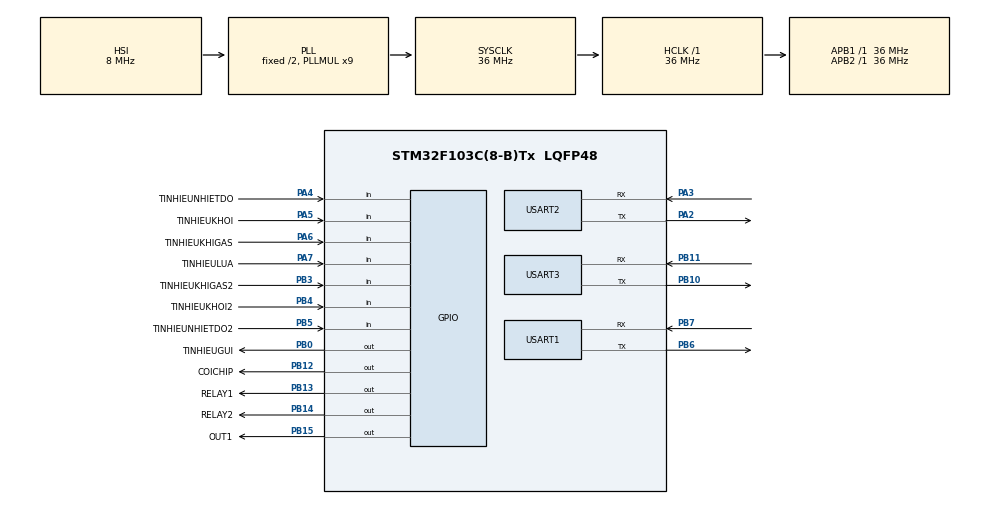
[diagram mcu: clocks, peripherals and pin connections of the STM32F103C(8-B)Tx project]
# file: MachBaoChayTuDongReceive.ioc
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Mcu.Family=STM32F1
Mcu.Name=STM32F103C(8-B)Tx
Mcu.Package=LQFP48
NVIC.PriorityGroup=NVIC_PRIORITYGROUP_4
PA13.Mode=Serial_Wire
PA13.Signal=SYS_JTMS-SWDIO
PA14.Mode=Serial_Wire
PA14.Signal=SYS_JTCK-SWCLK
PA2.Mode=Asynchronous
PA2.Signal=USART2_TX
PA3.Mode=Asynchronous
PA3.Signal=USART2_RX
PA4.GPIO_Label=TINHIEUNHIETDO
PA4.Signal=GPIO_Input
PA5.GPIO_Label=TINHIEUKHOI
PA5.Signal=GPIO_Input
PA6.GPIO_Label=TINHIEUKHIGAS
PA6.Signal=GPIO_Input
PA7.GPIO_Label=TINHIEULUA
PA7.Signal=GPIO_Input
PB0.GPIO_Label=TINHIEUGUI
PB0.Signal=GPIO_Output
PB10.Mode=Asynchronous
PB10.Signal=USART3_TX
PB11.Mode=Asynchronous
PB11.Signal=USART3_RX
PB12.GPIO_Label=COICHIP
PB12.Signal=GPIO_Output
PB13.GPIO_Label=RELAY1
PB13.Signal=GPIO_Output
PB14.GPIO_Label=RELAY2
PB14.Signal=GPIO_Output
PB15.GPIO_Label=OUT1
PB15.Signal=GPIO_Output
PB3.GPIO_Label=TINHIEUKHIGAS2
PB3.Signal=GPIO_Input
PB4.GPIO_Label=TINHIEUKHOI2
PB4.Signal=GPIO_Input
PB5.GPIO_Label=TINHIEUNHIETDO2
PB5.Signal=GPIO_Input
PB6.Mode=Asynchronous
PB6.Signal=USART1_TX
PB7.Mode=Asynchronous
PB7.Signal=USART1_RX
PC14-OSC32_IN.Mode=LSE-External-Oscillator
PC14-OSC32_IN.Signal=RCC_OSC32_IN
PC15-OSC32_OUT.Mode=LSE-External-Oscillator
PC15-OSC32_OUT.Signal=RCC_OSC32_OUT
ProjectManager.HeapSize=0x200
ProjectManager.StackSize=0x400
ProjectManager.TargetToolchain=STM32CubeIDE
RCC.AHBFreq_Value=36000000
RCC.APB1Freq_Value=36000000
RCC.APB1TimFreq_Value=36000000
RCC.APB2Freq_Value=36000000
RCC.APB2TimFreq_Value=36000000
RCC.HCLKFreq_Value=36000000
RCC.PLLMUL=RCC_PLL_MUL9
RCC.SYSCLKFreq_VALUE=36000000
RCC.SYSCLKSource=RCC_SYSCLKSOURCE_PLLCLK
RCC.USBFreq_Value=36000000
USART1.VirtualMode=VM_ASYNC
USART2.VirtualMode=VM_ASYNC
USART3.VirtualMode=VM_ASYNC
VP_TIM1_VS_ClockSourceINT.Mode=Internal
board=custom

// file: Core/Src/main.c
/* USER CODE BEGIN Header */
/**
 ******************************************************************************
 * @file           : main.c
 * @brief          : Main program body
 ******************************************************************************
 * @attention
 *
 * Copyright (c) 2024 STMicroelectronics.
 * All rights reserved.
 *
 * This software is licensed under terms that can be found in the LICENSE file
 * in the root directory of this software component.
 * If no LICENSE file comes with this software, it is provided AS-IS.
 *
 ******************************************************************************
 */
/* USER CODE END Header */
#include "main.h"

/* USER CODE BEGIN Includes */
#include "string.h"
#include "stdio.h"
/* USER CODE END Includes */

/* USER CODE BEGIN PM */
int a = 0;
char SIM800__Call_Char[] = "ATD0765214176;\r\n";
char SIM800__Mess_Char1[] = "AT+CMGF=1;\r\n";
char SIM800__Mess_Char2[] = "AT+CMGS=\"0765214176\"\r\n";
char SIM800__Mess_Char3[] = "CANH BAO SU CO;\r\n";
char SIM800__Mess_Char4[] = "\x1A\r\n";
uint32_t ThoiGianCuocGoiCuoi = 0;
uint32_t ThoiGianTinNhanCuoi = 0;
uint32_t ThoiGianTinHieuCuoi = 0;
uint8_t CoTinNhan, CoCuocGoi, CoKiemTraHeThong;
uint8_t DataNhanTuCamera;
uint32_t last_time;
/* USER CODE END PM */

TIM_HandleTypeDef htim1;

UART_HandleTypeDef huart1;
UART_HandleTypeDef huart2;
UART_HandleTypeDef huart3;

void SystemClock_Config(void);
static void MX_GPIO_Init(void);
static void MX_TIM1_Init(void);
static void MX_USART1_UART_Init(void);
static void MX_USART2_UART_Init(void);
static void MX_USART3_UART_Init(void);

/* USER CODE BEGIN 0 */
void TatHeThongChuaChay(void);
void BatHeThongChuaChay(void);
void BatHeThongCanhBao(void);
/* USER CODE END 0 */

int main(void)
{

  /* MCU Configuration--------------------------------------------------------*/

  /* Reset of all peripherals, Initializes the Flash interface and the Systick. */
  HAL_Init();

  /* Configure the system clock */
  SystemClock_Config();

  /* Initialize all configured peripherals */
  MX_GPIO_Init();
  MX_TIM1_Init();
  MX_USART1_UART_Init();
  MX_USART2_UART_Init();
  MX_USART3_UART_Init();

  /* Infinite loop */
	while (1)
	{

    /* USER CODE BEGIN 3 */
		HAL_UART_Receive(&huart1, &DataNhanTuCamera, 1, 100);
		if (((HAL_GPIO_ReadPin(TINHIEUNHIETDO_GPIO_Port, TINHIEUNHIETDO_Pin) == 0)
			  && (HAL_GPIO_ReadPin(TINHIEULUA_GPIO_Port, TINHIEULUA_Pin) == 0)
		      && (HAL_GPIO_ReadPin(TINHIEUKHOI_GPIO_Port, TINHIEUKHOI_Pin) == 0)
			  && (HAL_GPIO_ReadPin(TINHIEUKHIGAS_GPIO_Port, TINHIEUKHIGAS_Pin) == 0))
			  || DataNhanTuCamera != '0' )
		{
			if(CoKiemTraHeThong == 0)
			{
				ThoiGianTinHieuCuoi = HAL_GetTick();
				CoKiemTraHeThong = 1;
			}
			if(HAL_GetTick() - ThoiGianTinHieuCuoi >= 5000)
			{
				TatHeThongChuaChay();
				CoTinNhan = 0;
				CoCuocGoi = 0;
				CoKiemTraHeThong = 0;
				ThoiGianTinHieuCuoi = 0;
			}
		}

		if ((HAL_GPIO_ReadPin(TINHIEUNHIETDO_GPIO_Port, TINHIEUNHIETDO_Pin) == 1
			|| HAL_GPIO_ReadPin(TINHIEUKHOI_GPIO_Port, TINHIEUKHOI_Pin) == 1
			|| HAL_GPIO_ReadPin(TINHIEUKHIGAS_GPIO_Port, TINHIEUKHIGAS_Pin) == 1))
		{
			BatHeThongCanhBao();
		    if (CoTinNhan == 0)
		    {
		        HAL_UART_Transmit(&huart2, (uint8_t*)SIM800__Mess_Char1, strlen(SIM800__Mess_Char1), HAL_MAX_DELAY);
		        HAL_Delay(500);
		        HAL_UART_Transmit(&huart2, (uint8_t*)SIM800__Mess_Char2, strlen(SIM800__Mess_Char2), HAL_MAX_DELAY);
		        HAL_Delay(500);
		        HAL_UART_Transmit(&huart2, (uint8_t*)SIM800__Mess_Char3, strlen(SIM800__Mess_Char3), HAL_MAX_DELAY);
		        HAL_Delay(500);
		        HAL_UART_Transmit(&huart2, (uint8_t*)SIM800__Mess_Char4, strlen(SIM800__Mess_Char4), HAL_MAX_DELAY);
		        HAL_Delay(2000);
		        CoTinNhan = 1;
		    }
		}
		else if (HAL_GPIO_ReadPin(TINHIEULUA_GPIO_Port, TINHIEULUA_Pin) == 1 || DataNhanTuCamera == '1')
		{
	    	BatHeThongChuaChay();
		    if (CoCuocGoi == 0)
		    {
		        if (HAL_GetTick() - ThoiGianCuocGoiCuoi >= 5000)
		        {
		            HAL_UART_Transmit(&huart2, (uint8_t*)SIM800__Call_Char, strlen(SIM800__Call_Char), HAL_MAX_DELAY);
		            ThoiGianCuocGoiCuoi = HAL_GetTick();
		        }
		    }
		}
		else
		{
		    CoTinNhan = 0;
		    CoCuocGoi = 0;
		}
	}
  /* USER CODE END 3 */
}

void SystemClock_Config(void)
{
  RCC_OscInitTypeDef RCC_OscInitStruct = {0};
  RCC_ClkInitTypeDef RCC_ClkInitStruct = {0};

  /** Initializes the RCC Oscillators according to the specified parameters
  * in the RCC_OscInitTypeDef structure.
  */
  RCC_OscInitStruct.OscillatorType = RCC_OSCILLATORTYPE_HSI;
  RCC_OscInitStruct.HSIState = RCC_HSI_ON;
  RCC_OscInitStruct.HSICalibrationValue = RCC_HSICALIBRATION_DEFAULT;
  RCC_OscInitStruct.PLL.PLLState = RCC_PLL_ON;
  RCC_OscInitStruct.PLL.PLLSource = RCC_PLLSOURCE_HSI_DIV2;
  RCC_OscInitStruct.PLL.PLLMUL = RCC_PLL_MUL9;
  if (HAL_RCC_OscConfig(&RCC_OscInitStruct) != HAL_OK)
  {
    Error_Handler();
  }

  /** Initializes the CPU, AHB and APB buses clocks
  */
  RCC_ClkInitStruct.ClockType = RCC_CLOCKTYPE_HCLK|RCC_CLOCKTYPE_SYSCLK
                              |RCC_CLOCKTYPE_PCLK1|RCC_CLOCKTYPE_PCLK2;
  RCC_ClkInitStruct.SYSCLKSource = RCC_SYSCLKSOURCE_PLLCLK;
  RCC_ClkInitStruct.AHBCLKDivider = RCC_SYSCLK_DIV1;
  RCC_ClkInitStruct.APB1CLKDivider = RCC_HCLK_DIV1;
  RCC_ClkInitStruct.APB2CLKDivider = RCC_HCLK_DIV1;

  if (HAL_RCC_ClockConfig(&RCC_ClkInitStruct, FLASH_LATENCY_1) != HAL_OK)
  {
    Error_Handler();
  }
}

static void MX_TIM1_Init(void)
{

  TIM_ClockConfigTypeDef sClockSourceConfig = {0};
  TIM_MasterConfigTypeDef sMasterConfig = {0};

  htim1.Instance = TIM1;
  htim1.Init.Prescaler = 0;
  htim1.Init.CounterMode = TIM_COUNTERMODE_UP;
  htim1.Init.Period = 65535;
  htim1.Init.ClockDivision = TIM_CLOCKDIVISION_DIV1;
  htim1.Init.RepetitionCounter = 0;
  htim1.Init.AutoReloadPreload = TIM_AUTORELOAD_PRELOAD_DISABLE;
  if (HAL_TIM_Base_Init(&htim1) != HAL_OK)
  {
    Error_Handler();
  }
  sClockSourceConfig.ClockSource = TIM_CLOCKSOURCE_INTERNAL;
  if (HAL_TIM_ConfigClockSource(&htim1, &sClockSourceConfig) != HAL_OK)
  {
    Error_Handler();
  }
  sMasterConfig.MasterOutputTrigger = TIM_TRGO_RESET;
  sMasterConfig.MasterSlaveMode = TIM_MASTERSLAVEMODE_DISABLE;
  if (HAL_TIMEx_MasterConfigSynchronization(&htim1, &sMasterConfig) != HAL_OK)
  {
    Error_Handler();
  }

}

static void MX_USART1_UART_Init(void)
{

  huart1.Instance = USART1;
  huart1.Init.BaudRate = 115200;
  huart1.Init.WordLength = UART_WORDLENGTH_8B;
  huart1.Init.StopBits = UART_STOPBITS_1;
  huart1.Init.Parity = UART_PARITY_NONE;
  huart1.Init.Mode = UART_MODE_TX_RX;
  huart1.Init.HwFlowCtl = UART_HWCONTROL_NONE;
  huart1.Init.OverSampling = UART_OVERSAMPLING_16;
  if (HAL_UART_Init(&huart1) != HAL_OK)
  {
    Error_Handler();
  }

}

static void MX_USART2_UART_Init(void)
{

  huart2.Instance = USART2;
  huart2.Init.BaudRate = 115200;
  huart2.Init.WordLength = UART_WORDLENGTH_8B;
  huart2.Init.StopBits = UART_STOPBITS_1;
  huart2.Init.Parity = UART_PARITY_NONE;
  huart2.Init.Mode = UART_MODE_TX_RX;
  huart2.Init.HwFlowCtl = UART_HWCONTROL_NONE;
  huart2.Init.OverSampling = UART_OVERSAMPLING_16;
  if (HAL_UART_Init(&huart2) != HAL_OK)
  {
    Error_Handler();
  }

}

static void MX_USART3_UART_Init(void)
{

  huart3.Instance = USART3;
  huart3.Init.BaudRate = 115200;
  huart3.Init.WordLength = UART_WORDLENGTH_8B;
  huart3.Init.StopBits = UART_STOPBITS_1;
  huart3.Init.Parity = UART_PARITY_NONE;
  huart3.Init.Mode = UART_MODE_TX_RX;
  huart3.Init.HwFlowCtl = UART_HWCONTROL_NONE;
  huart3.Init.OverSampling = UART_OVERSAMPLING_16;
  if (HAL_UART_Init(&huart3) != HAL_OK)
  {
    Error_Handler();
  }

}

static void MX_GPIO_Init(void)
{
  GPIO_InitTypeDef GPIO_InitStruct = {0};

  /* GPIO Ports Clock Enable */
  __HAL_RCC_GPIOC_CLK_ENABLE();
  __HAL_RCC_GPIOA_CLK_ENABLE();
  __HAL_RCC_GPIOB_CLK_ENABLE();

  /*Configure GPIO pin Output Level */
  HAL_GPIO_WritePin(GPIOB, TINHIEUGUI_Pin|COICHIP_Pin|RELAY1_Pin|RELAY2_Pin
                          |OUT1_Pin, GPIO_PIN_RESET);

  /*Configure GPIO pins : TINHIEUNHIETDO_Pin TINHIEUKHOI_Pin TINHIEUKHIGAS_Pin TINHIEULUA_Pin */
  GPIO_InitStruct.Pin = TINHIEUNHIETDO_Pin|TINHIEUKHOI_Pin|TINHIEUKHIGAS_Pin|TINHIEULUA_Pin;
  GPIO_InitStruct.Mode = GPIO_MODE_INPUT;
  GPIO_InitStruct.Pull = GPIO_NOPULL;
  HAL_GPIO_Init(GPIOA, &GPIO_InitStruct);

  /*Configure GPIO pins : TINHIEUGUI_Pin COICHIP_Pin RELAY1_Pin RELAY2_Pin
                           OUT1_Pin */
  GPIO_InitStruct.Pin = TINHIEUGUI_Pin|COICHIP_Pin|RELAY1_Pin|RELAY2_Pin
                          |OUT1_Pin;
  GPIO_InitStruct.Mode = GPIO_MODE_OUTPUT_PP;
  GPIO_InitStruct.Pull = GPIO_NOPULL;
  GPIO_InitStruct.Speed = GPIO_SPEED_FREQ_LOW;
  HAL_GPIO_Init(GPIOB, &GPIO_InitStruct);

  /*Configure GPIO pins : TINHIEUKHIGAS2_Pin TINHIEUKHOI2_Pin TINHIEUNHIETDO2_Pin */
  GPIO_InitStruct.Pin = TINHIEUKHIGAS2_Pin|TINHIEUKHOI2_Pin|TINHIEUNHIETDO2_Pin;
  GPIO_InitStruct.Mode = GPIO_MODE_INPUT;
  GPIO_InitStruct.Pull = GPIO_NOPULL;
  HAL_GPIO_Init(GPIOB, &GPIO_InitStruct);

}

/* USER CODE BEGIN 4 */
void TatHeThongChuaChay(void)
{
	HAL_GPIO_WritePin(RELAY1_GPIO_Port, RELAY1_Pin, 0);
	HAL_GPIO_WritePin(RELAY2_GPIO_Port, RELAY2_Pin, 0);
	HAL_GPIO_WritePin(COICHIP_GPIO_Port, COICHIP_Pin, 0);
}

void BatHeThongChuaChay(void)
{
	HAL_GPIO_WritePin(RELAY1_GPIO_Port, RELAY1_Pin, 1);
	HAL_GPIO_WritePin(RELAY2_GPIO_Port, RELAY2_Pin, 1);
	HAL_GPIO_WritePin(COICHIP_GPIO_Port, COICHIP_Pin, 1);
}

void BatHeThongCanhBao(void)
{
	HAL_GPIO_WritePin(RELAY2_GPIO_Port, RELAY2_Pin, 1);
	HAL_GPIO_WritePin(COICHIP_GPIO_Port, COICHIP_Pin, 1);
}
/* USER CODE END 4 */

void Error_Handler(void)
{
	__disable_irq();
	while (1)
	{
	}
}
